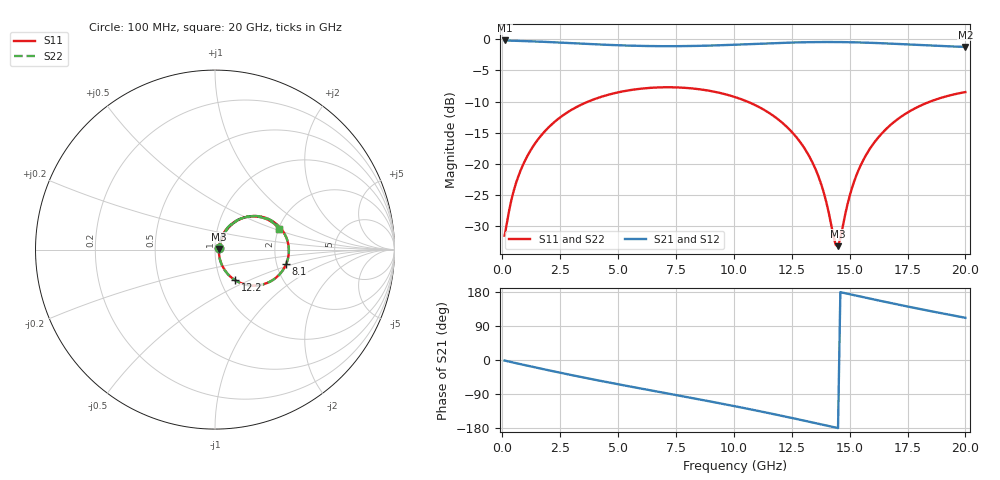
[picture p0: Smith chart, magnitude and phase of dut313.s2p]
! Touchstone file exported from HFSS 2026.1.0
!  File:  C:/ffzhzh/LocalFiles/Ansys_Project_Files/temp_train_TSV_RDL_313_1783029982_53980.aedt
!  Generated:  06:20:01 AM Jul  3, 2026
!  Design:  TSV_RDL
!  Project:  temp_train_TSV_RDL_313_1783029982_53980
! Variables:
!  h_bsmrdl = 2.16um
!  h_ox = 20um
!  h_rdl = 5um
!  h_sub = 90.97um
!  h_tmrdl = 5.95um
!  h_tsv = 90.97um
!  h_via = 3um
!  l_bsmrdl = 827.32um
!  l_sub = 4059.29um
!  l_tmrdl = 262.06um
!  m_sub = 200um
!  pitch = 37.41um
!  r_tsv = 4.92um
!  s_tmrdl = 10um
!  w_bsmrdl = 23.26um
!  w_sub = 500um
!  w_tmrdl = 19.77um
!  x_tsv_center1 = 271.945um
!  x_tsv_center2 = 1122.525um
!  x_tsv_center3 = 1404.355um
!  x_tsv_center4 = 2254.935um
!  x_tsv_center5 = 2536.765um
!  x_tsv_center6 = 3387.345um
# GHz S MA R 50.000000
! Terminal data exported
! Port[1] = TM_RDL1_1_T1
! Port[2] = TM_RDL5_1_T1
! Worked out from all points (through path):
!   200 points, 100 MHz to 20 GHz, reference 50 ohm
!   highest |S21| = -0.21 dB at 100 MHz (marker M1); lowest = -1.2 dB at 20 GHz (marker M2)
!   group delay of S21, straight-line fit = 34.3 ps
!   lowest |S11| = -33.2 dB at 14.5 GHz (marker M3), VSWR 1.04, Z = 52.2 + j0.294 ohm
!   |S11| at or under -10 dB: start of sweep to 3.711 GHz; 10.58 GHz to 18.48 GHz (7.899 GHz wide, 54.4 % of centre)
!   |S22| runs from -33.4 to -7.7 dB; largest |S21 - S12| = 1.6e-14
!   S11 on the Smith chart (normalised r, x): 100 MHz: 1.05, +0.02; 8.1 GHz: 2.25, -0.44; 12.2 GHz: 1.17, -0.42; 20 GHz: 2.01, +0.55
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0.1  0.02663 24.9  0.9761 -1.5  0.9761 -1.5  0.02663 24.9
! Gamma 0 0 0 0
! Port Impedance 50 0 50 0
0.4  0.05218 53.5  0.9723 -5.7  0.9723 -5.7  0.05218 53.5
0.6  0.07096 58.0  0.9696 -8.5  0.9696 -8.5  0.07096 58.0
1.2  0.1266 59.3  0.9615 -16.6  0.9615 -16.6  0.1266 59.3
2.2  0.2129 51.4  0.9444 -29.7  0.9444 -29.7  0.2129 51.4
3.5  0.304 37.7  0.9188 -46.1  0.9188 -46.1  0.304 37.7
5.1  0.3781 20.4  0.8921 -65.1  0.8921 -65.1  0.3781 20.4
6.8  0.4107 2.2  0.8785 -84.5  0.8785 -84.5  0.4108 2.2
8.1  0.4044 -11.6  0.8808 -99.3  0.8808 -99.3  0.4045 -11.7
10.1  0.3412 -33.4  0.9031 -122.7  0.9031 -122.7  0.3413 -33.5
12.2  0.2053 -56.5  0.9351 -149.0  0.9351 -149.0  0.2054 -56.6
12.9  0.1467 -62.9  0.9429 -158.2  0.9429 -158.2  0.1467 -63.2
13.4  0.1023 -65.7  0.9466 -164.8  0.9466 -164.8  0.1023 -66.0
13.8  0.0664 -64.0  0.9481 -170.2  0.9481 -170.2  0.06628 -64.6
14.4  0.02243 -16.0  0.948 -178.3  0.948 -178.3  0.02189 -16.7
14.5  0.02196 7.4  0.9476 -179.6  0.9476 -179.6  0.02137 7.4
15  0.05534 58.3  0.9447 173.7  0.9447 173.7  0.05505 58.8
15.4  0.09062 62.3  0.941 168.3  0.941 168.3  0.09042 62.6
16  0.1431 59.8  0.9334 160.4  0.9334 160.4  0.1429 59.9
16.7  0.2003 53.5  0.9221 151.3  0.9221 151.3  0.2002 53.6
18.1  0.2955 38.6  0.8961 133.8  0.8961 133.8  0.2955 38.7
20  0.3764 18.2  0.8666 111.4  0.8666 111.4  0.3764 18.1
